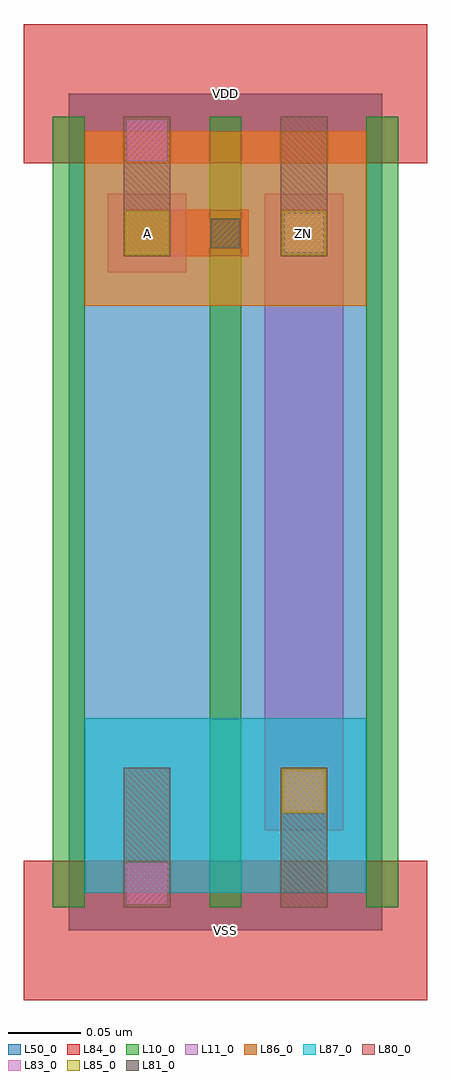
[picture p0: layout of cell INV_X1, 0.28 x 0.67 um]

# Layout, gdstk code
import gdstk
lib = gdstk.Library(unit=1e-6, precision=1e-09)
def R(c, l, rs):  # rectangles x0, y0, x1, y1
    for r in rs: c.add(gdstk.rectangle(r[:2], r[2:], *l))
def A(c, l, x, y, w, h, nx, ny, dx, dy):  # array of equal rectangles
    R(c, l, [(x+i*dx, y+j*dy, x+i*dx+w, y+j*dy+h) for i in range(nx) for j in range(ny)])
L10_0 = (10, 0)
L11_0 = (11, 0)
L50_0 = (50, 0)
L80_0 = (80, 0)
L81_0 = (81, 0)
L83_0 = (83, 0)
L84_0 = (84, 0)
L85_0 = (85, 0)
L86_0 = (86, 0)
L87_0 = (87, 0)

inv_x1 = lib.new_cell('INV_X1')
A(inv_x1, L10_0, -0.011, 0.016, 0.022, 0.544, 3, 1, 0.108, 0)
R(inv_x1, L11_0, [(0.135,0.069,0.189,0.507), (0.027,0.453,0.081,0.507)])
R(inv_x1, L50_0, [(0,0,0.216,0.576)])
R(inv_x1, L80_0, [(0.038,0.016,0.07,0.112), (0.146,0.016,0.178,0.112), (0.038,0.464,0.07,0.56), (0.146,0.464,0.178,0.56)])
R(inv_x1, L81_0, [(0.098,0.47,0.118,0.49)])
R(inv_x1, L83_0, [(0.04,0.018,0.068,0.046), (0.148,0.082,0.176,0.11), (0.148,0.466,0.176,0.494), (0.04,0.53,0.068,0.558)])
R(inv_x1, L84_0, [(-0.031,-0.048,0.247,0.048), (0.146,0.08,0.178,0.112), (0.038,0.464,0.124,0.496), (0.146,0.464,0.178,0.496), (-0.031,0.528,0.247,0.624)])
R(inv_x1, L85_0, [(0.147,0.081,0.177,0.111), (0.039,0.465,0.069,0.495), (0.147,0.465,0.177,0.495)])
R(inv_x1, L86_0, [(0.011,0.43,0.205,0.55)])
R(inv_x1, L87_0, [(0.011,0.026,0.205,0.146)])
inv_x1.add(gdstk.Label('VDD', (0.108,0.576), layer=88, texttype=0))
inv_x1.add(gdstk.Label('VSS', (0.108,0), layer=88, texttype=0))
inv_x1.add(gdstk.Label('ZN', (0.162,0.48), layer=31, texttype=0))
inv_x1.add(gdstk.Label('A', (0.054,0.48), layer=31, texttype=0))

lib.write_gds('INV_X1.gds')
